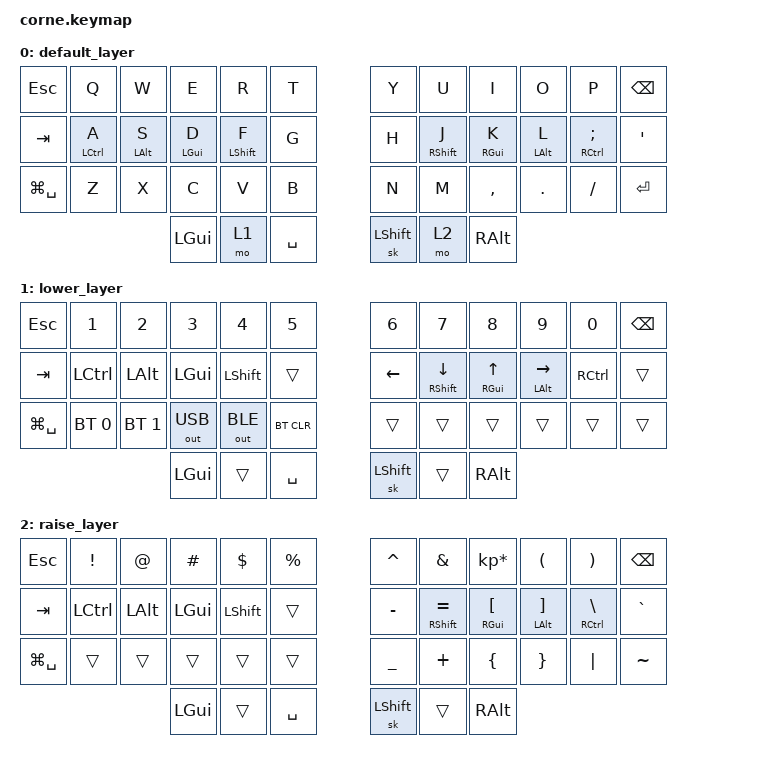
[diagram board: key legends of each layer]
/*
 * Copyright (c) 2020 The ZMK Contributors
 *
 * SPDX-License-Identifier: MIT
 */

#include <behaviors.dtsi>
#include <dt-bindings/zmk/bt.h>
#include <dt-bindings/zmk/keys.h>
#include <dt-bindings/zmk/keys.h>
#include <dt-bindings/zmk/outputs.h>

&sk {
  quick-release;
};

/ {
  behaviors {
    hm: homerow_mods {
      compatible = "zmk,behavior-hold-tap";
      label = "HOMEROW_MODS";
      #binding-cells = <2>;
      tapping-term-ms = <150>;
      quick-tap-ms = <200>;
      flavor = "tap-preferred";
      bindings = <&kp>, <&kp>;
    };
  };

  keymap {
    compatible = "zmk,keymap";

    default_layer {
      bindings = <
        &kp ESC         &kp Q           &kp W           &kp E           &kp R           &kp T           &kp Y           &kp U           &kp I           &kp O           &kp P           &kp BSPC
        &kp TAB         &hm LCTRL A     &hm LALT S      &hm LGUI D      &hm LSHFT F     &kp G           &kp H           &hm RSHFT J     &hm RGUI K      &hm LALT L      &hm RCTRL SEMI  &kp SQT
        &kp LG(SPACE)   &kp Z           &kp X           &kp C           &kp V           &kp B           &kp N           &kp M           &kp COMMA       &kp DOT         &kp FSLH        &kp RET
                                                        &kp LGUI        &mo 1           &kp SPACE       &sk LSHFT       &mo 2           &kp RALT
      >;
    };

    lower_layer {
      bindings = <
        &kp ESC         &kp N1          &kp N2          &kp N3          &kp N4          &kp N5          &kp N6          &kp N7          &kp N8          &kp N9          &kp N0          &kp BSPC
        &kp TAB         &kp LCTRL       &kp LALT        &kp LGUI        &kp LSHFT       &trans          &kp LEFT        &hm RSHFT DOWN  &hm RGUI UP     &hm LALT RIGHT  &kp RCTRL       &trans
        &kp LG(SPACE)   &bt BT_SEL 0    &bt BT_SEL 1    &out OUT_USB    &out OUT_BLE    &bt BT_CLR      &trans          &trans          &trans          &trans          &trans          &trans
                                                        &kp LGUI        &trans          &kp SPACE       &sk LSHFT       &trans          &kp RALT
      >;
    };

    raise_layer {
      bindings = <
        &kp ESC         &kp EXCL        &kp AT          &kp HASH        &kp DLLR        &kp PRCNT       &kp CARET       &kp AMPS        &kp KP_MULTIPLY &kp LPAR        &kp RPAR        &kp BSPC
        &kp TAB         &kp LCTRL       &kp LALT        &kp LGUI        &kp LSHFT       &trans          &kp MINUS       &hm RSHFT EQUAL &hm RGUI LBKT   &hm LALT RBKT   &hm RCTRL BSLH  &kp GRAVE
        &kp LG(SPACE)   &trans          &trans          &trans          &trans          &trans          &kp UNDER       &kp PLUS        &kp LBRC        &kp RBRC        &kp PIPE        &kp TILDE
                                                        &kp LGUI        &trans          &kp SPACE       &sk LSHFT       &trans          &kp RALT
      >;
    };
  };
};
